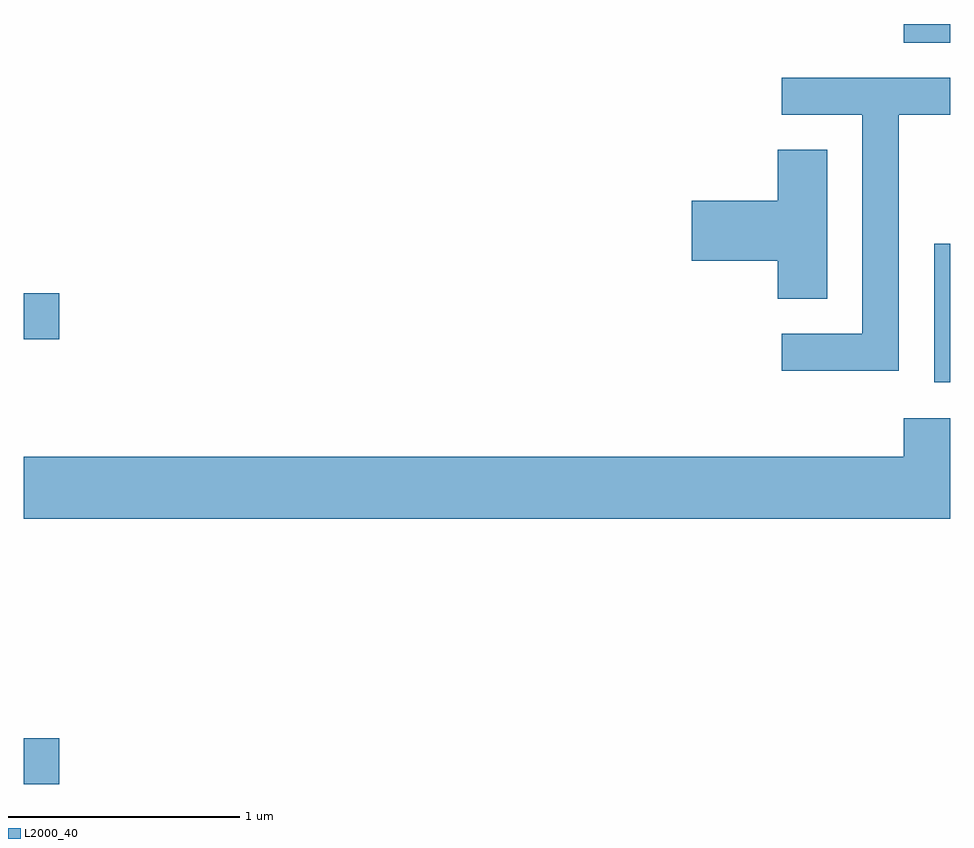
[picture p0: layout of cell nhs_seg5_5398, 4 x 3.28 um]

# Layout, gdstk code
import gdstk
lib = gdstk.Library(unit=1e-6, precision=1e-09)
def R(c, l, rs):  # rectangles x0, y0, x1, y1
    for r in rs: c.add(gdstk.rectangle(r[:2], r[2:], *l))
def P(c, l, *ps):  # polygons
    for p in ps: c.add(gdstk.Polygon(p, *l))
L2000_40 = (2000, 40)

nhs_seg5_5398 = lib.new_cell('nhs_seg5_5398')
R(nhs_seg5_5398, L2000_40, [(345.611,1426.791,345.764,1426.989), (349.541,1428.526,349.611,1429.124), (345.611,1428.711,345.764,1428.909), (349.411,1429.991,349.611,1430.072)])
P(nhs_seg5_5398, L2000_40, [(349.389,1429.681),(349.611,1429.681),(349.611,1429.839),(348.883,1429.839),(348.883,1429.681),(349.231,1429.681),(349.231,1428.734),(348.883,1428.734),(348.883,1428.576),(349.389,1428.576)],
  [(349.079,1429.529),(348.866,1429.529),(348.866,1429.309),(348.496,1429.309),(348.496,1429.051),(348.866,1429.051),(348.866,1428.886),(349.079,1428.886)],
  [(349.611,1428.369),(349.411,1428.369),(349.411,1428.204),(345.611,1428.204),(345.611,1427.936),(349.611,1427.936)])

lib.write_gds('nhs_seg5_5398.gds')
